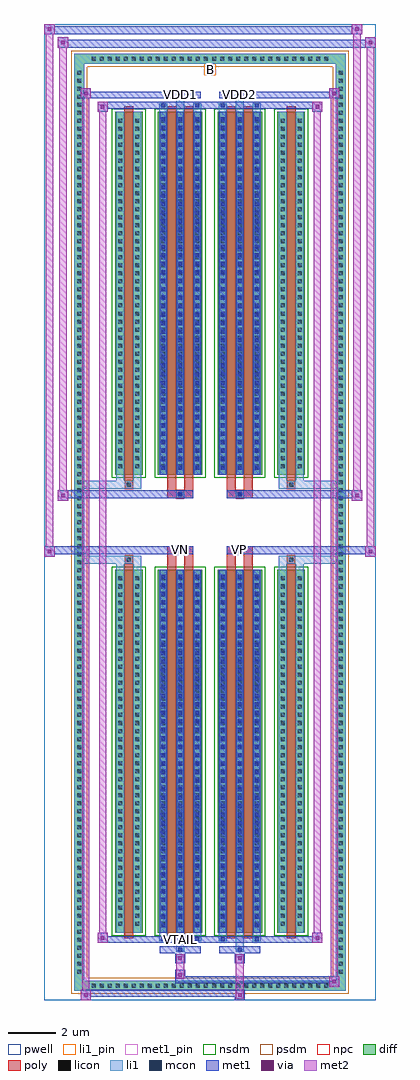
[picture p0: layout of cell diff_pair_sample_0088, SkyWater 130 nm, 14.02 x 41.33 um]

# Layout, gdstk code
import gdstk
lib = gdstk.Library(unit=1e-6, precision=5e-09)
def R(c, l, rs):  # rectangles x0, y0, x1, y1
    for r in rs: c.add(gdstk.rectangle(r[:2], r[2:], *l))
def A(c, l, x, y, w, h, nx, ny, dx, dy):  # array of equal rectangles
    R(c, l, [(x+i*dx, y+j*dy, x+i*dx+w, y+j*dy+h) for i in range(nx) for j in range(ny)])
def P(c, l, *ps):  # polygons
    for p in ps: c.add(gdstk.Polygon(p, *l))
pwell = (64, 44)
diff = (65, 20)
poly = (66, 20)
licon = (66, 44)
li1_pin = (67, 16)
li1 = (67, 20)
mcon = (67, 44)
met1_pin = (68, 16)
met1 = (68, 20)
via = (68, 44)
met2 = (69, 20)
nsdm = (93, 44)
psdm = (94, 20)
npc = (95, 20)

diff_pair_sample_0088 = lib.new_cell('diff_pair_sample_0088')
R(diff_pair_sample_0088, pwell, [(-7.01,-20.23,7.01,21.1), (-4.33,-18.42,-0.01,-0.82), (0.01,-18.42,4.33,-0.82), (-4.33,0.82,-0.01,18.42), (0.01,0.82,4.33,18.42)])
A(diff_pair_sample_0088, diff, -5.135, -19.83, 0.41, 0.41, 30, 2, 0.34, 39.25)
A(diff_pair_sample_0088, diff, -5.74, -19.245, 0.41, 0.41, 1, 113, 0, 0.34)
A(diff_pair_sample_0088, diff, 5.33, -19.245, 0.41, 0.41, 1, 113, 0, 0.34)
R(diff_pair_sample_0088, diff, [(-5.135,-19.83,5.135,-19.42), (-5.74,-19.245,-5.33,19.245), (5.33,-19.245,5.74,19.245), (-4.02,-17.375,-2.85,-2.005), (-2.21,-17.375,-0.32,-2.005), (0.32,-17.375,2.21,-2.005), (2.85,-17.375,4.02,-2.005), (-4.02,2.005,-2.85,17.375), (-2.21,2.005,-0.32,17.375), (0.32,2.005,2.21,17.375), (2.85,2.005,4.02,17.375), (-5.135,19.42,5.135,19.83)])
P(diff_pair_sample_0088, diff, [(5.74,19.83),(-5.74,19.83),(-5.74,-19.42),(-5.33,-19.42),(-5.33,19.42),(5.33,19.42),(5.33,-19.42),(-5.33,-19.42),(-5.74,-19.42),(-5.74,-19.83),(5.74,-19.83)])
R(diff_pair_sample_0088, poly, [(-3.63,-17.625,-3.24,-1.755), (-1.82,-17.625,-1.43,-1.755), (-1.1,-17.625,-0.71,-1.755), (0.71,-17.625,1.1,-1.755), (1.43,-17.625,1.82,-1.755), (3.24,-17.625,3.63,-1.755), (-3.6,-1.755,-3.27,-1.425), (-3.6,-1.755,-3.27,-1.425), (-1.82,-1.755,-1.43,-1.35), (-1.1,-1.755,-0.71,-1.35), (0.71,-1.755,1.1,-1.35), (1.43,-1.755,1.82,-1.35), (3.27,-1.755,3.6,-1.425), (3.27,-1.755,3.6,-1.425), (-1.82,-1.35,-0.71,-1.02), (-1.43,-1.35,-1.1,-1.02), (0.71,-1.35,1.82,-1.02), (1.1,-1.35,1.43,-1.02), (-1.82,1.02,-0.71,1.35), (-1.43,1.02,-1.1,1.35), (0.71,1.02,1.82,1.35), (1.1,1.02,1.43,1.35), (-1.82,1.35,-1.43,1.755), (-1.1,1.35,-0.71,1.755), (0.71,1.35,1.1,1.755), (1.43,1.35,1.82,1.755), (-3.6,1.425,-3.27,1.755), (-3.6,1.425,-3.27,1.755), (3.27,1.425,3.6,1.755), (3.27,1.425,3.6,1.755), (-3.63,1.755,-3.24,17.625), (-1.82,1.755,-1.43,17.625), (-1.1,1.755,-0.71,17.625), (0.71,1.755,1.1,17.625), (1.43,1.755,1.82,17.625), (3.24,1.755,3.63,17.625)])
A(diff_pair_sample_0088, licon, -5.015, -19.71, 0.17, 0.17, 30, 2, 0.34, 39.25)
A(diff_pair_sample_0088, licon, -5.62, -19.125, 0.17, 0.17, 1, 113, 0, 0.34)
A(diff_pair_sample_0088, licon, 5.45, -19.125, 0.17, 0.17, 1, 113, 0, 0.34)
A(diff_pair_sample_0088, licon, -3.88, -17.085, 0.17, 0.17, 1, 44, 0, 0.34)
A(diff_pair_sample_0088, licon, -3.16, -17.085, 0.17, 0.17, 1, 44, 0, 0.34)
A(diff_pair_sample_0088, licon, -2.07, -17.085, 0.17, 0.17, 3, 44, 0.72, 0.34)
A(diff_pair_sample_0088, licon, 0.46, -17.085, 0.17, 0.17, 3, 44, 0.72, 0.34)
A(diff_pair_sample_0088, licon, 2.99, -17.085, 0.17, 0.17, 1, 44, 0, 0.34)
A(diff_pair_sample_0088, licon, 3.71, -17.085, 0.17, 0.17, 1, 44, 0, 0.34)
A(diff_pair_sample_0088, licon, -3.88, 2.295, 0.17, 0.17, 1, 44, 0, 0.34)
A(diff_pair_sample_0088, licon, -3.16, 2.295, 0.17, 0.17, 1, 44, 0, 0.34)
A(diff_pair_sample_0088, licon, -2.07, 2.295, 0.17, 0.17, 3, 44, 0.72, 0.34)
A(diff_pair_sample_0088, licon, 0.46, 2.295, 0.17, 0.17, 3, 44, 0.72, 0.34)
A(diff_pair_sample_0088, licon, 2.99, 2.295, 0.17, 0.17, 1, 44, 0, 0.34)
A(diff_pair_sample_0088, licon, 3.71, 2.295, 0.17, 0.17, 1, 44, 0, 0.34)
R(diff_pair_sample_0088, licon, [(-3.52,-1.675,-3.35,-1.505), (3.35,-1.675,3.52,-1.505), (-1.35,-1.27,-1.18,-1.1), (1.18,-1.27,1.35,-1.1), (-1.35,1.1,-1.18,1.27), (1.18,1.1,1.35,1.27), (-3.52,1.505,-3.35,1.675), (3.35,1.505,3.52,1.675)])
R(diff_pair_sample_0088, li1_pin, [(-0.25,18.92,0.25,19.42)])
A(diff_pair_sample_0088, li1, -5.095, -19.79, 0.33, 0.33, 30, 2, 0.34, 39.25)
A(diff_pair_sample_0088, li1, -5.7, -19.205, 0.33, 0.33, 1, 113, 0, 0.34)
A(diff_pair_sample_0088, li1, 5.37, -19.205, 0.33, 0.33, 1, 113, 0, 0.34)
A(diff_pair_sample_0088, li1, -2.15, -17.375, 0.33, 15.37, 3, 2, 0.72, 19.38)
A(diff_pair_sample_0088, li1, 0.38, -17.375, 0.33, 15.37, 3, 2, 0.72, 19.38)
A(diff_pair_sample_0088, li1, -3.96, -17.165, 0.33, 0.33, 1, 44, 0, 0.34)
A(diff_pair_sample_0088, li1, -3.24, -17.165, 0.33, 0.33, 1, 44, 0, 0.34)
A(diff_pair_sample_0088, li1, -2.15, -17.165, 0.33, 0.33, 3, 44, 0.72, 0.34)
A(diff_pair_sample_0088, li1, 0.38, -17.165, 0.33, 0.33, 3, 44, 0.72, 0.34)
A(diff_pair_sample_0088, li1, 2.91, -17.165, 0.33, 0.33, 1, 44, 0, 0.34)
A(diff_pair_sample_0088, li1, 3.63, -17.165, 0.33, 0.33, 1, 44, 0, 0.34)
A(diff_pair_sample_0088, li1, -2.07, -17.155, 0.17, 0.17, 3, 42, 0.72, 0.36)
A(diff_pair_sample_0088, li1, -2.07, -17.155, 0.17, 14.93, 3, 2, 0.72, 19.38)
A(diff_pair_sample_0088, li1, 0.46, -17.155, 0.17, 0.17, 3, 42, 0.72, 0.36)
A(diff_pair_sample_0088, li1, 0.46, -17.155, 0.17, 14.93, 3, 2, 0.72, 19.38)
A(diff_pair_sample_0088, li1, -3.96, 2.215, 0.33, 0.33, 1, 44, 0, 0.34)
A(diff_pair_sample_0088, li1, -3.24, 2.215, 0.33, 0.33, 1, 44, 0, 0.34)
A(diff_pair_sample_0088, li1, -2.15, 2.215, 0.33, 0.33, 3, 44, 0.72, 0.34)
A(diff_pair_sample_0088, li1, 0.38, 2.215, 0.33, 0.33, 3, 44, 0.72, 0.34)
A(diff_pair_sample_0088, li1, 2.91, 2.215, 0.33, 0.33, 1, 44, 0, 0.34)
A(diff_pair_sample_0088, li1, 3.63, 2.215, 0.33, 0.33, 1, 44, 0, 0.34)
A(diff_pair_sample_0088, li1, -2.07, 2.225, 0.17, 0.17, 3, 42, 0.72, 0.36)
A(diff_pair_sample_0088, li1, 0.46, 2.225, 0.17, 0.17, 3, 42, 0.72, 0.36)
R(diff_pair_sample_0088, li1, [(-5.74,-19.83,-5.33,-19.42), (-5.74,-19.83,-5.33,-19.42), (-5.33,-19.83,5.33,-19.42), (5.33,-19.83,5.74,-19.42), (5.33,-19.83,5.74,-19.42), (-5.74,-19.42,-5.33,19.42), (5.33,-19.42,5.74,19.42), (-1.43,-18.18,-1.1,-17.375), (-1.35,-18.18,-1.18,-18.01), (1.1,-18.18,1.43,-17.375), (1.18,-18.18,1.35,-18.01), (-2.15,-17.75,-1.82,-17.375), (-2.07,-17.75,-1.9,-17.58), (-0.71,-17.75,-0.38,-17.375), (-0.63,-17.75,-0.46,-17.58), (0.38,-17.75,0.71,-17.375), (0.46,-17.75,0.63,-17.58), (1.82,-17.75,2.15,-17.375), (1.9,-17.75,2.07,-17.58), (-3.96,-17.375,-3.63,-2.005), (-3.24,-17.375,-2.91,-2.005), (2.91,-17.375,3.24,-2.005), (3.63,-17.375,3.96,-2.005), (-3.96,-2.005,-3.63,-1.425), (-3.24,-2.005,-2.91,-1.425), (2.91,-2.005,3.24,-1.425), (3.63,-2.005,3.96,-1.425), (-5.74,-1.755,-3.6,-1.425), (-3.96,-1.755,-3.6,-1.425), (-3.6,-1.755,-3.27,-1.425), (-3.27,-1.755,-2.91,-1.425), (2.91,-1.755,3.27,-1.425), (3.27,-1.755,3.6,-1.425), (3.27,-1.755,5.74,-1.425), (3.6,-1.755,3.96,-1.425), (-1.43,-1.35,-1.1,-1.02), (1.1,-1.35,1.43,-1.02), (-1.43,1.02,-1.1,1.35), (1.1,1.02,1.43,1.35), (-5.74,1.425,-3.6,1.755), (-3.96,1.425,-3.6,1.755), (-3.96,1.425,-3.63,2.005), (-3.6,1.425,-3.27,1.755), (-3.27,1.425,-2.91,1.755), (-3.24,1.425,-2.91,2.005), (2.91,1.425,3.27,1.755), (2.91,1.425,3.24,2.005), (3.27,1.425,3.6,1.755), (3.27,1.425,5.74,1.755), (3.6,1.425,3.96,1.755), (3.63,1.425,3.96,2.005), (-3.96,2.005,-3.63,17.375), (-3.24,2.005,-2.91,17.375), (2.91,2.005,3.24,17.375), (3.63,2.005,3.96,17.375), (-2.15,17.375,-1.82,17.75), (-1.43,17.375,-1.1,18.18), (-0.71,17.375,-0.38,17.75), (0.38,17.375,0.71,17.75), (1.1,17.375,1.43,18.18), (1.82,17.375,2.15,17.75), (-2.07,17.58,-1.9,17.75), (-0.63,17.58,-0.46,17.75), (0.46,17.58,0.63,17.75), (1.9,17.58,2.07,17.75), (-1.35,18.01,-1.18,18.18), (1.18,18.01,1.35,18.18), (-5.74,19.42,-5.33,19.83), (-5.74,19.42,-5.33,19.83), (-5.33,19.42,5.33,19.83), (5.33,19.42,5.74,19.83), (5.33,19.42,5.74,19.83)])
A(diff_pair_sample_0088, mcon, -2.07, -17.155, 0.17, 0.17, 3, 42, 0.72, 0.36)
A(diff_pair_sample_0088, mcon, 0.46, -17.155, 0.17, 0.17, 3, 42, 0.72, 0.36)
A(diff_pair_sample_0088, mcon, -2.07, 2.225, 0.17, 0.17, 3, 42, 0.72, 0.36)
A(diff_pair_sample_0088, mcon, 0.46, 2.225, 0.17, 0.17, 3, 42, 0.72, 0.36)
R(diff_pair_sample_0088, mcon, [(-1.35,-18.18,-1.18,-18.01), (1.18,-18.18,1.35,-18.01), (-2.07,-17.75,-1.9,-17.58), (-0.63,-17.75,-0.46,-17.58), (0.46,-17.75,0.63,-17.58), (1.9,-17.75,2.07,-17.58), (-1.35,-1.27,-1.18,-1.1), (1.18,-1.27,1.35,-1.1), (-1.35,1.1,-1.18,1.27), (1.18,1.1,1.35,1.27), (-2.07,17.58,-1.9,17.75), (-0.63,17.58,-0.46,17.75), (0.46,17.58,0.63,17.75), (1.9,17.58,2.07,17.75), (-1.35,18.01,-1.18,18.18), (1.18,18.01,1.35,18.18)])
R(diff_pair_sample_0088, met1_pin, [(-1.4,-17.79,-1.13,-17.52), (-1.4,-1.29,-1.13,-1.02), (1.13,-1.29,1.4,-1.02), (-1.4,17.97,-1.13,18.24), (1.13,17.97,1.4,18.24)])
A(diff_pair_sample_0088, met1, -2.13, -17.375, 0.29, 15.37, 3, 2, 0.72, 19.38)
A(diff_pair_sample_0088, met1, 0.4, -17.375, 0.29, 15.37, 3, 2, 0.72, 19.38)
A(diff_pair_sample_0088, met1, -2.13, -17.215, 0.29, 0.29, 3, 42, 0.72, 0.36)
A(diff_pair_sample_0088, met1, 0.4, -17.215, 0.29, 0.29, 3, 42, 0.72, 0.36)
A(diff_pair_sample_0088, met1, -2.13, 2.165, 0.29, 0.29, 3, 42, 0.72, 0.36)
A(diff_pair_sample_0088, met1, 0.4, 2.165, 0.29, 0.29, 3, 42, 0.72, 0.36)
R(diff_pair_sample_0088, met1, [(-5.47,-20.23,-5.04,-19.8), (1.05,-20.23,1.48,-19.8), (-5.47,-20.09,1.48,-19.8), (5.04,-19.66,5.47,-19.23), (-1.48,-19.52,5.47,-19.23), (-1.48,-19.38,-1.05,-18.95), (-1.48,-18.67,-1.05,-18.24), (1.05,-18.67,1.48,-18.24), (-2.13,-18.24,-0.4,-17.95), (-1.41,-18.24,-1.12,-17.95), (0.4,-18.24,2.13,-17.95), (1.12,-18.24,1.41,-17.95), (-4.76,-17.81,-4.33,-17.38), (-4.76,-17.81,-2.13,-17.52), (-2.13,-17.81,-1.84,-17.52), (-2.13,-17.81,-0.4,-17.52), (-0.69,-17.81,-0.4,-17.52), (-0.4,-17.81,0.4,-17.52), (0.4,-17.81,0.69,-17.52), (0.4,-17.81,2.13,-17.52), (1.84,-17.81,2.13,-17.52), (2.13,-17.81,4.76,-17.52), (4.33,-17.81,4.76,-17.38), (-7.01,-1.45,-6.58,-1.02), (6.58,-1.45,7.01,-1.02), (-7.01,-1.35,-0.71,-1.02), (-1.82,-1.35,-0.71,-1.02), (0.71,-1.35,1.82,-1.02), (0.71,-1.35,7.01,-1.02), (-1.41,-1.33,-1.12,-1.04), (1.12,-1.33,1.41,-1.04), (-6.44,0.92,-6.01,1.35), (6.01,0.92,6.44,1.35), (-6.44,1.02,-1.82,1.35), (-1.82,1.02,-0.71,1.35), (0.71,1.02,1.82,1.35), (1.82,1.02,6.44,1.35), (-1.41,1.04,-1.12,1.33), (1.12,1.04,1.41,1.33), (-4.76,17.38,-4.33,17.81), (4.33,17.38,4.76,17.81), (-4.76,17.52,-2.13,17.81), (-2.13,17.52,-1.84,17.81), (-2.13,17.52,-0.4,17.81), (-0.69,17.52,-0.4,17.81), (-0.4,17.52,0.4,17.81), (0.4,17.52,0.69,17.81), (0.4,17.52,2.13,17.81), (1.84,17.52,2.13,17.81), (2.13,17.52,4.76,17.81), (-5.47,17.95,-5.04,18.38), (-5.47,17.95,-2.13,18.24), (-2.13,17.95,-0.4,18.24), (-1.41,17.95,-1.12,18.24), (0.4,17.95,2.13,18.24), (1.12,17.95,1.41,18.24), (2.13,17.95,5.47,18.24), (5.04,17.95,5.47,18.38), (-6.44,20.1,-6.01,20.53), (-6.44,20.1,-4.33,20.43), (-4.33,20.1,4.33,20.43), (4.33,20.1,7.01,20.43), (6.58,20.1,7.01,20.53), (-7.01,20.67,-6.58,21.1), (-7.01,20.67,-4.33,21), (-4.33,20.67,4.33,21), (4.33,20.67,6.44,21), (6.01,20.67,6.44,21.1)])
R(diff_pair_sample_0088, via, [(-5.33,-20.09,-5.18,-19.94), (1.19,-20.09,1.34,-19.94), (5.18,-19.52,5.33,-19.37), (-1.34,-19.24,-1.19,-19.09), (-1.34,-18.53,-1.19,-18.38), (1.19,-18.53,1.34,-18.38), (-4.62,-17.67,-4.47,-17.52), (4.47,-17.67,4.62,-17.52), (-6.87,-1.31,-6.72,-1.16), (6.72,-1.31,6.87,-1.16), (-6.3,1.06,-6.15,1.21), (6.15,1.06,6.3,1.21), (-4.62,17.52,-4.47,17.67), (4.47,17.52,4.62,17.67), (-5.33,18.09,-5.18,18.24), (5.18,18.09,5.33,18.24), (-6.3,20.24,-6.15,20.39), (6.72,20.24,6.87,20.39), (-6.87,20.81,-6.72,20.96), (6.15,20.81,6.3,20.96)])
R(diff_pair_sample_0088, met2, [(-5.47,-20.23,-5.04,-19.8), (-5.4,-20.23,-5.11,18.38), (-5.11,-20.23,-5.04,-19.8), (-5.42,-20.18,-5.09,-19.85), (1.1,-20.18,1.43,-19.85), (1.1,-19.85,1.43,-18.62), (5.04,-19.66,5.47,-19.23), (5.11,-19.66,5.4,18.38), (5.4,-19.66,5.47,-19.23), (5.09,-19.61,5.42,-19.28), (-1.43,-19.33,-1.1,-19), (-1.43,-19,-1.1,-18.62), (-1.43,-18.62,-1.1,-18.29), (1.1,-18.62,1.43,-18.29), (-4.76,-17.81,-4.33,-17.38), (-4.69,-17.81,-4.4,17.81), (-4.4,-17.81,-4.33,-17.38), (4.33,-17.81,4.76,-17.38), (4.4,-17.81,4.69,17.81), (4.69,-17.81,4.76,-17.38), (-4.71,-17.76,-4.38,-17.43), (4.38,-17.76,4.71,-17.43), (-7.01,-1.45,-6.58,-1.02), (-6.96,-1.45,-6.63,21.1), (-6.63,-1.45,-6.58,-1.02), (6.58,-1.45,7.01,-1.02), (6.63,-1.45,6.96,20.53), (6.96,-1.45,7.01,-1.02), (-6.96,-1.4,-6.63,-1.07), (6.63,-1.4,6.96,-1.07), (-6.44,0.92,-6.01,1.35), (-6.39,0.92,-6.06,20.53), (-6.06,0.92,-6.01,1.35), (6.01,0.92,6.44,1.35), (6.06,0.92,6.39,21.1), (6.39,0.92,6.44,1.35), (-6.39,0.97,-6.06,1.3), (6.06,0.97,6.39,1.3), (-4.76,17.38,-4.33,17.81), (-4.4,17.38,-4.33,17.81), (4.33,17.38,4.76,17.81), (4.69,17.38,4.76,17.81), (-4.71,17.43,-4.38,17.76), (4.38,17.43,4.71,17.76), (-5.47,17.95,-5.04,18.38), (-5.11,17.95,-5.04,18.38), (5.04,17.95,5.47,18.38), (5.4,17.95,5.47,18.38), (-5.42,18,-5.09,18.33), (5.09,18,5.42,18.33), (-6.44,20.1,-6.01,20.53), (-6.06,20.1,-6.01,20.53), (6.58,20.1,7.01,20.53), (6.96,20.1,7.01,20.53), (-6.39,20.15,-6.06,20.48), (6.63,20.15,6.96,20.48), (-7.01,20.67,-6.58,21.1), (-6.63,20.67,-6.58,21.1), (6.01,20.67,6.44,21.1), (6.39,20.67,6.44,21.1), (-6.96,20.72,-6.63,21.05), (6.06,20.72,6.39,21.05)])
R(diff_pair_sample_0088, nsdm, [(-4.15,-17.505,-2.72,-1.875), (-2.34,-17.505,-0.19,-1.875), (0.19,-17.505,2.34,-1.875), (2.72,-17.505,4.15,-1.875), (-4.15,1.875,-2.72,17.505), (-2.34,1.875,-0.19,17.505), (0.19,1.875,2.34,17.505), (2.72,1.875,4.15,17.505)])
P(diff_pair_sample_0088, psdm, [(5.87,19.96),(-5.87,19.96),(-5.87,-19.29),(-5.2,-19.29),(-5.2,19.29),(5.2,19.29),(5.2,-19.29),(-5.2,-19.29),(-5.87,-19.29),(-5.87,-19.96),(5.87,-19.96)])
R(diff_pair_sample_0088, npc, [(-3.62,-1.775,-3.25,-1.405), (3.25,-1.775,3.62,-1.405), (-1.45,-1.37,-1.08,-1), (1.08,-1.37,1.45,-1), (-1.45,1,-1.08,1.37), (1.08,1,1.45,1.37), (-3.62,1.405,-3.25,1.775), (3.25,1.405,3.62,1.775)])
diff_pair_sample_0088.add(gdstk.Label('VTAIL', (-1.265,-17.655), layer=68, texttype=5))
diff_pair_sample_0088.add(gdstk.Label('VN', (-1.265,-1.155), layer=68, texttype=5))
diff_pair_sample_0088.add(gdstk.Label('VP', (1.265,-1.155), layer=68, texttype=5))
diff_pair_sample_0088.add(gdstk.Label('B', (0,19.17), layer=67, texttype=5))
diff_pair_sample_0088.add(gdstk.Label('VDD2', (1.265,18.105), layer=68, texttype=5))
diff_pair_sample_0088.add(gdstk.Label('VDD1', (-1.265,18.105), layer=68, texttype=5))

lib.write_gds('diff_pair_sample_0088.gds')
